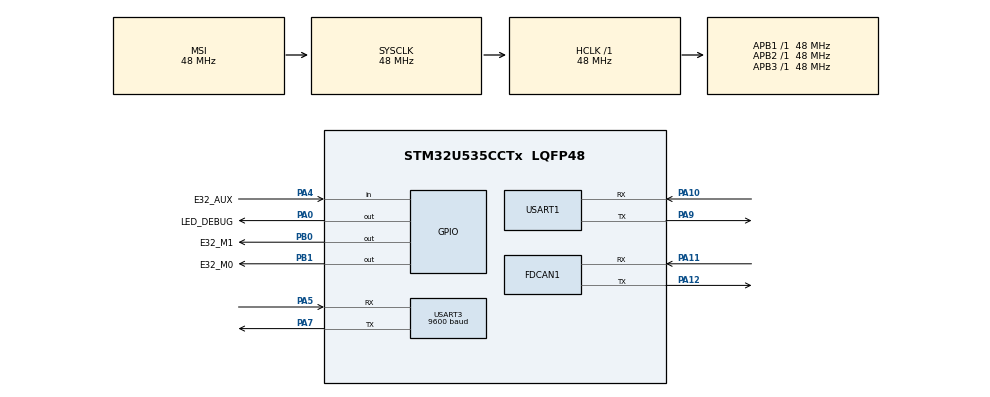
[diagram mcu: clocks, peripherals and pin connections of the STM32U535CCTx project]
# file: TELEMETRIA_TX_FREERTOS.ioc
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CORTEX_M33_NS.userName=CORTEX_M33
FDCAN1.CalculateBaudRateNominal=500000
FDCAN1.CalculateTimeBitNominal=2000
FDCAN1.CalculateTimeQuantumNominal=125.0
FDCAN1.NominalPrescaler=16
FDCAN1.NominalTimeSeg1=13
FDCAN1.NominalTimeSeg2=2
Mcu.Family=STM32U5
Mcu.Name=STM32U535CCTx
Mcu.Package=LQFP48
NVIC.PriorityGroup=NVIC_PRIORITYGROUP_4
NVIC.TIM6_IRQn=true\:15\:0\:false\:false\:true\:false\:false\:true\:true
NVIC.TimeBase=TIM6_IRQn
NVIC.TimeBaseIP=TIM6
PA0.GPIO_Label=LED_DEBUG
PA0.Signal=GPIO_Output
PA10.Mode=Asynchronous
PA10.Signal=USART1_RX
PA11.Mode=FDCAN_Activate
PA11.Signal=FDCAN1_RX
PA12.Mode=FDCAN_Activate
PA12.Signal=FDCAN1_TX
PA4.GPIO_Label=E32_AUX
PA4.Signal=GPIO_Input
PA5.Mode=Asynchronous
PA5.Signal=USART3_RX
PA7.Mode=Asynchronous
PA7.Signal=USART3_TX
PA9.Mode=Asynchronous
PA9.Signal=USART1_TX
PB0.GPIO_Label=E32_M1
PB0.Signal=GPIO_Output
PB1.GPIO_Label=E32_M0
PB1.Signal=GPIO_Output
ProjectManager.HeapSize=0x200
ProjectManager.StackSize=0x400
ProjectManager.TargetToolchain=STM32CubeIDE
RCC.ADCFreq_Value=16000000
RCC.AHBFreq_Value=48000000
RCC.APB1Freq_Value=48000000
RCC.APB1TimFreq_Value=48000000
RCC.APB2Freq_Value=48000000
RCC.APB2TimFreq_Value=48000000
RCC.APB3Freq_Value=48000000
RCC.CortexFreq_Value=48000000
RCC.DACCLockSelectionVirtual=RCC_DAC1CLKSOURCE_LSI
RCC.DACCLockSelectionVirtualString=RCC_DAC1CLKSOURCE_LSI
RCC.EPOD_VALUE=48000000
RCC.HCLKFreq_Value=48000000
RCC.HSE_VALUE=16000000
RCC.HSI48_VALUE=48000000
RCC.HSI_VALUE=16000000
RCC.LSE_VALUE=32768
RCC.LSIDIV_VALUE=32000
RCC.MSIClockRange=RCC_MSIRANGE_0
RCC.MSI_VALUE=48000000
RCC.PLL1Q=1
RCC.PLLFRACN=0
RCC.PLLM=3
RCC.PLLN=8
RCC.SYSCLKFreq_VALUE=48000000
RCC.USBFreq_Value=48000000
RCC.VCOOutputFreq_Value=128000000
STMicroelectronics.X-CUBE-FREERTOS.1.5.0.RTOS2CcCMSISJjRTOS2JjCore=TZIiNonIiSupported
STMicroelectronics.X-CUBE-FREERTOS.1.5.0.RTOS2CcCMSISJjRTOS2JjHeap=HeapIi1
USART1.VirtualMode-Asynchronous=VM_ASYNC
USART3.BaudRate=9600
USART3.VirtualMode-Asynchronous=VM_ASYNC
VP_LPBAMQUEUE_VS_QUEUE.Mode=QUEUEMODE
VP_LPBAM_VS_SIG1.Mode=SmartRun
VP_LPBAM_VS_SIG4.Mode=LPDMA1
VP_MEMORYMAP_VS_MEMORYMAP.Mode=CurAppReg
VP_PWR_VS_SECSignals.Mode=Security/Privilege
VP_STMicroelectronics.X-CUBE-FREERTOS_VS_CMSISJjRTOS2_11.2.0_1.5.0.Mode=CMSISJjRTOS2
VP_SYS_VS_tim6.Mode=TIM6
board=custom

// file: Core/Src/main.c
/* USER CODE BEGIN Header */
/**
  ******************************************************************************
  * @file           : main.c
  * @brief          : Main program body
  ******************************************************************************
  * @attention
  *
  * Copyright (c) 2026 STMicroelectronics.
  * All rights reserved.
  *
  * This software is licensed under terms that can be found in the LICENSE file
  * in the root directory of this software component.
  * If no LICENSE file comes with this software, it is provided AS-IS.
  *
  ******************************************************************************
  */
/* USER CODE END Header */
#include "main.h"
#include "fdcan.h"
#include "usart.h"
#include "gpio.h"

/* USER CODE BEGIN Includes */

#include "main.h"
#include "usart.h"
#include "gpio.h"

#include <string.h>
#include <stdio.h>
#include <stdarg.h>

/* USER CODE END Includes */

/* USER CODE BEGIN PTD */

#define CAN_QUEUE_SIZE 128

typedef struct {
    uint32_t id;
    uint8_t data[8];
} CanMessage;

/* USER CODE END PTD */

/* USER CODE BEGIN PD */

#define DEBUG_PRINT    1

#define LORA_SPED      0x3D
#define LORA_CHANNEL   0x06
#define LORA_OPTION    0xC4

#define PAYLOAD_SIZE   64
#define TX_INTERVAL_MS 1000

/* USER CODE END PD */

/* USER CODE BEGIN PV */

uint8_t txData[PAYLOAD_SIZE] = {
    0x01, 0x02, 0x03, 0x04,
    0x05, 0x06, 0x07, 0x08,
    0x09, 0x0A, 0x0B, 0x0C
};
uint8_t uartRx, i;

FDCAN_RxHeaderTypeDef canRxHeader;
uint8_t canRxData[64];
uint8_t dlc_to_bytes[] = {0,1,2,3,4,5,6,7,8,12,16,20,24,32,48,64};
uint8_t packetSize;

CanMessage canQueue[CAN_QUEUE_SIZE];
volatile uint8_t queueHead = 0;
volatile uint8_t queueTail = 0;

/* USER CODE END PV */

void SystemClock_Config(void);
/* USER CODE BEGIN PFP */

void disp(const char *format, ...);
void e32_waitAUX(uint32_t timeoutMs);
void e32_setMode(uint8_t m1, uint8_t m0);
uint8_t e32_configureModule(void);
void e32_Send(uint8_t *data, uint32_t canID);

uint8_t queuePush(uint32_t id, uint8_t *data);
uint8_t queuePop(CanMessage *msg);

/* USER CODE END PFP */

int main(void)
{

  /* MCU Configuration--------------------------------------------------------*/

  /* Reset of all peripherals, Initializes the Flash interface and the Systick. */
  HAL_Init();

  /* Configure the system clock */
  SystemClock_Config();

  /* Initialize all configured peripherals */
  MX_GPIO_Init();
  MX_USART1_UART_Init();
  MX_USART3_UART_Init();
  MX_FDCAN1_Init();
  /* USER CODE BEGIN 2 */

  HAL_GPIO_WritePin(LED_DEBUG_GPIO_Port, LED_DEBUG_Pin, GPIO_PIN_RESET);
  HAL_Delay(100);
  HAL_GPIO_WritePin(LED_DEBUG_GPIO_Port, LED_DEBUG_Pin, GPIO_PIN_SET);

  disp("FORMULA TESLA UFMG - TELEMETRIA V4 - PLACA TRANSMISSORA\r\n");

  HAL_Delay(200);

  e32_configureModule();

  HAL_Delay(200);

  disp("[MODE] Normal Mode...\r\n");

  e32_setMode(0,0);
  // Enable FDCAN RX FIFO0 Interrupt in NVIC and Activate Notification
  HAL_NVIC_SetPriority(FDCAN1_IT0_IRQn, 3, 3);
  HAL_NVIC_EnableIRQ(FDCAN1_IT0_IRQn);

  if (HAL_FDCAN_ActivateNotification(&hfdcan1, FDCAN_IT_RX_FIFO0_NEW_MESSAGE, 0) != HAL_OK)
  {
      disp("[CAN] Interrupt Activation Failed!\r\n");
      Error_Handler();
  }
  else
  {
      disp("[CAN] Interrupt Activated!\r\n");
  }

  /* USER CODE END 2 */

  /* Infinite loop */
  /* USER CODE BEGIN WHILE */
  while (1)
  {
    // If E32 LoRa module is not busy, send the next buffered CAN message
    if (HAL_GPIO_ReadPin(E32_AUX_GPIO_Port, E32_AUX_Pin) == GPIO_PIN_SET)
    {
      CanMessage msg;
      if (queuePop(&msg))
      {
        e32_Send(msg.data, msg.id);
      }
    }
    /* USER CODE END WHILE */

  }
}

void SystemClock_Config(void)
{
  RCC_OscInitTypeDef RCC_OscInitStruct = {0};
  RCC_ClkInitTypeDef RCC_ClkInitStruct = {0};

  /** Configure the main internal regulator output voltage
  */
  if (HAL_PWREx_ControlVoltageScaling(PWR_REGULATOR_VOLTAGE_SCALE3) != HAL_OK)
  {
    Error_Handler();
  }

  /** Initializes the CPU, AHB and APB buses clocks
  */
  RCC_OscInitStruct.OscillatorType = RCC_OSCILLATORTYPE_MSI;
  RCC_OscInitStruct.MSIState = RCC_MSI_ON;
  RCC_OscInitStruct.MSICalibrationValue = RCC_MSICALIBRATION_DEFAULT;
  RCC_OscInitStruct.MSIClockRange = RCC_MSIRANGE_0;
  RCC_OscInitStruct.PLL.PLLState = RCC_PLL_ON;
  RCC_OscInitStruct.PLL.PLLSource = RCC_PLLSOURCE_MSI;
  RCC_OscInitStruct.PLL.PLLMBOOST = RCC_PLLMBOOST_DIV4;
  RCC_OscInitStruct.PLL.PLLM = 3;
  RCC_OscInitStruct.PLL.PLLN = 8;
  RCC_OscInitStruct.PLL.PLLP = 2;
  RCC_OscInitStruct.PLL.PLLQ = 1;
  RCC_OscInitStruct.PLL.PLLR = 2;
  RCC_OscInitStruct.PLL.PLLRGE = RCC_PLLVCIRANGE_1;
  RCC_OscInitStruct.PLL.PLLFRACN = 0;
  if (HAL_RCC_OscConfig(&RCC_OscInitStruct) != HAL_OK)
  {
    Error_Handler();
  }

  /** Initializes the CPU, AHB and APB buses clocks
  */
  RCC_ClkInitStruct.ClockType = RCC_CLOCKTYPE_HCLK|RCC_CLOCKTYPE_SYSCLK
                              |RCC_CLOCKTYPE_PCLK1|RCC_CLOCKTYPE_PCLK2
                              |RCC_CLOCKTYPE_PCLK3;
  RCC_ClkInitStruct.SYSCLKSource = RCC_SYSCLKSOURCE_MSI;
  RCC_ClkInitStruct.AHBCLKDivider = RCC_SYSCLK_DIV1;
  RCC_ClkInitStruct.APB1CLKDivider = RCC_HCLK_DIV1;
  RCC_ClkInitStruct.APB2CLKDivider = RCC_HCLK_DIV1;
  RCC_ClkInitStruct.APB3CLKDivider = RCC_HCLK_DIV1;

  if (HAL_RCC_ClockConfig(&RCC_ClkInitStruct, FLASH_LATENCY_1) != HAL_OK)
  {
    Error_Handler();
  }
}

/* USER CODE BEGIN 4 */

uint8_t queuePush(uint32_t id, uint8_t *data)
{
    uint8_t nextHead = (queueHead + 1) % CAN_QUEUE_SIZE;
    if (nextHead == queueTail)
    {
        return 0; // Queue full
    }
    canQueue[queueHead].id = id;
    memcpy(canQueue[queueHead].data, data, 8);
    queueHead = nextHead;
    return 1;
}

uint8_t queuePop(CanMessage *msg)
{
    if (queueHead == queueTail)
    {
        return 0; // Queue empty
    }
    msg->id = canQueue[queueTail].id;
    memcpy(msg->data, canQueue[queueTail].data, 8);
    queueTail = (queueTail + 1) % CAN_QUEUE_SIZE;
    return 1;
}

// FDCAN Interrupt Handler
void FDCAN1_IT0_IRQHandler(void)
{
    HAL_FDCAN_IRQHandler(&hfdcan1);
}

// FDCAN RX Callback
void HAL_FDCAN_RxFifo0Callback(FDCAN_HandleTypeDef *hfdcan, uint32_t RxFifo0ITs)
{
    if ((RxFifo0ITs & FDCAN_IT_RX_FIFO0_NEW_MESSAGE) != 0)
    {
        FDCAN_RxHeaderTypeDef rxHeader;
        uint8_t rxData[8];
        if (HAL_FDCAN_GetRxMessage(hfdcan, FDCAN_RX_FIFO0, &rxHeader, rxData) == HAL_OK)
        {
            queuePush(rxHeader.Identifier, rxData);
        }
    }
}

void disp(const char *format, ...)
{
#if DEBUG_PRINT
    char msg[128];
    va_list args;
    va_start(args, format);
    vsnprintf(msg, sizeof(msg), format, args);
    va_end(args);
    HAL_UART_Transmit(
        &huart1,
        (uint8_t*)msg,
        strlen(msg),
        HAL_MAX_DELAY
    );
#endif
}

void e32_waitAUX(uint32_t timeoutMs)
{
    // If the AUX pin is already HIGH, the module is idle and stabilized. No delay needed.
    if (HAL_GPIO_ReadPin(E32_AUX_GPIO_Port, E32_AUX_Pin) == GPIO_PIN_SET)
    {
        return;
    }

    // Otherwise, wait for the busy state to clear
    uint32_t tickstart = HAL_GetTick();
    while (HAL_GPIO_ReadPin(E32_AUX_GPIO_Port, E32_AUX_Pin) == GPIO_PIN_RESET)
    {
        if ((HAL_GetTick() - tickstart) > timeoutMs)
        {
            disp("[AUX] Timeout!\r\n");
            return;
        }
    }

    // E32 datasheet requires 2ms of stabilization delay after AUX goes from LOW to HIGH
    HAL_Delay(2);
}

void e32_setMode(uint8_t m1, uint8_t m0)
{
    HAL_GPIO_WritePin(
        E32_M1_GPIO_Port,
        E32_M1_Pin,
        m1 ? GPIO_PIN_SET : GPIO_PIN_RESET
    );

    HAL_GPIO_WritePin(
        E32_M0_GPIO_Port,
        E32_M0_Pin,
        m0 ? GPIO_PIN_SET : GPIO_PIN_RESET
    );

    HAL_Delay(2);

    e32_waitAUX(2000);
}

uint8_t e32_configureModule(void)
{
    disp("[CFG] Sleep Mode...\r\n");

    e32_setMode(1,1);

    HAL_Delay(100);

    uint8_t dummy;

    while(HAL_UART_Receive(&huart3, &dummy, 1, 10) == HAL_OK);

    uint8_t cfg[6] = {
        0xC0,
        0x00,
        0x00,
        LORA_SPED,
        LORA_CHANNEL,
        LORA_OPTION
    };

    disp("[CFG] Sending config...\r\n");

    HAL_UART_Transmit(
        &huart3,
        cfg,
        6,
        HAL_MAX_DELAY
    );

    HAL_Delay(300);

    uint8_t resp[6] = {0};

    HAL_UART_Receive(
        &huart3,
        resp,
        6,
        800
    );

    uint8_t success = 0;
    if(resp[0] == 0xC0)
    {
        disp("[CFG] OK!\r\n");
        success = 1;
    }
    else
    {
        disp("[CFG] Using existing config.\r\n");
        success = 0;
    }

    // After configuring at 9600, reconfigure STM32's UART3 to 115200
    disp("[CFG] Changing STM32 UART3 Baudrate to 115200...\r\n");
    HAL_UART_DeInit(&huart3);
    huart3.Init.BaudRate = 115200;
    if (HAL_UART_Init(&huart3) != HAL_OK)
    {
        Error_Handler();
    }
    HAL_UARTEx_SetTxFifoThreshold(&huart3, UART_TXFIFO_THRESHOLD_1_8);
    HAL_UARTEx_SetRxFifoThreshold(&huart3, UART_RXFIFO_THRESHOLD_1_8);
    HAL_UARTEx_DisableFifoMode(&huart3);

    return success;
}

void e32_Send(uint8_t *data, uint32_t canID)
{
    e32_waitAUX(2000);

    /*
        Estrutura do pacote:

        [0]  = 0xFF
        [1]  = 0xFF
        [2]  = canal LoRa

        [3]  = CAN ID byte 3
        [4]  = CAN ID byte 2
        [5]  = CAN ID byte 1
        [6]  = CAN ID byte 0

        [7...] = dados CAN (8 bytes)
    */

    uint8_t packet[3 + 4 + 8];

    packet[0] = 0xFF;
    packet[1] = 0xFF;
    packet[2] = LORA_CHANNEL;

    // CAN ID
    packet[3] = (canID >> 24) & 0xFF;
    packet[4] = (canID >> 16) & 0xFF;
    packet[5] = (canID >> 8)  & 0xFF;
    packet[6] = (canID)       & 0xFF;

    // payload CAN (8 bytes)
    memcpy(&packet[7], data, 8);

    HAL_UART_Transmit(
        &huart3,
        packet,
        15,
        HAL_MAX_DELAY
    );

    // Toggle LED to signal successful LoRa Transmission!
    HAL_GPIO_TogglePin(LED_DEBUG_GPIO_Port, LED_DEBUG_Pin);

//    disp("\r\n%d, ", canID);
//	for(i = 0; i < 8; i++) {
//		disp("%d", data[i]);
//		if(i < 7)
//			disp(", ");
//	}

    //disp("[LORA TX] CAN ID: 0x%lX | 8 bytes\r\n", canID);
}
/* USER CODE END 4 */

void Error_Handler(void)
{
  __disable_irq();
  while (1)
  {
  }
}
